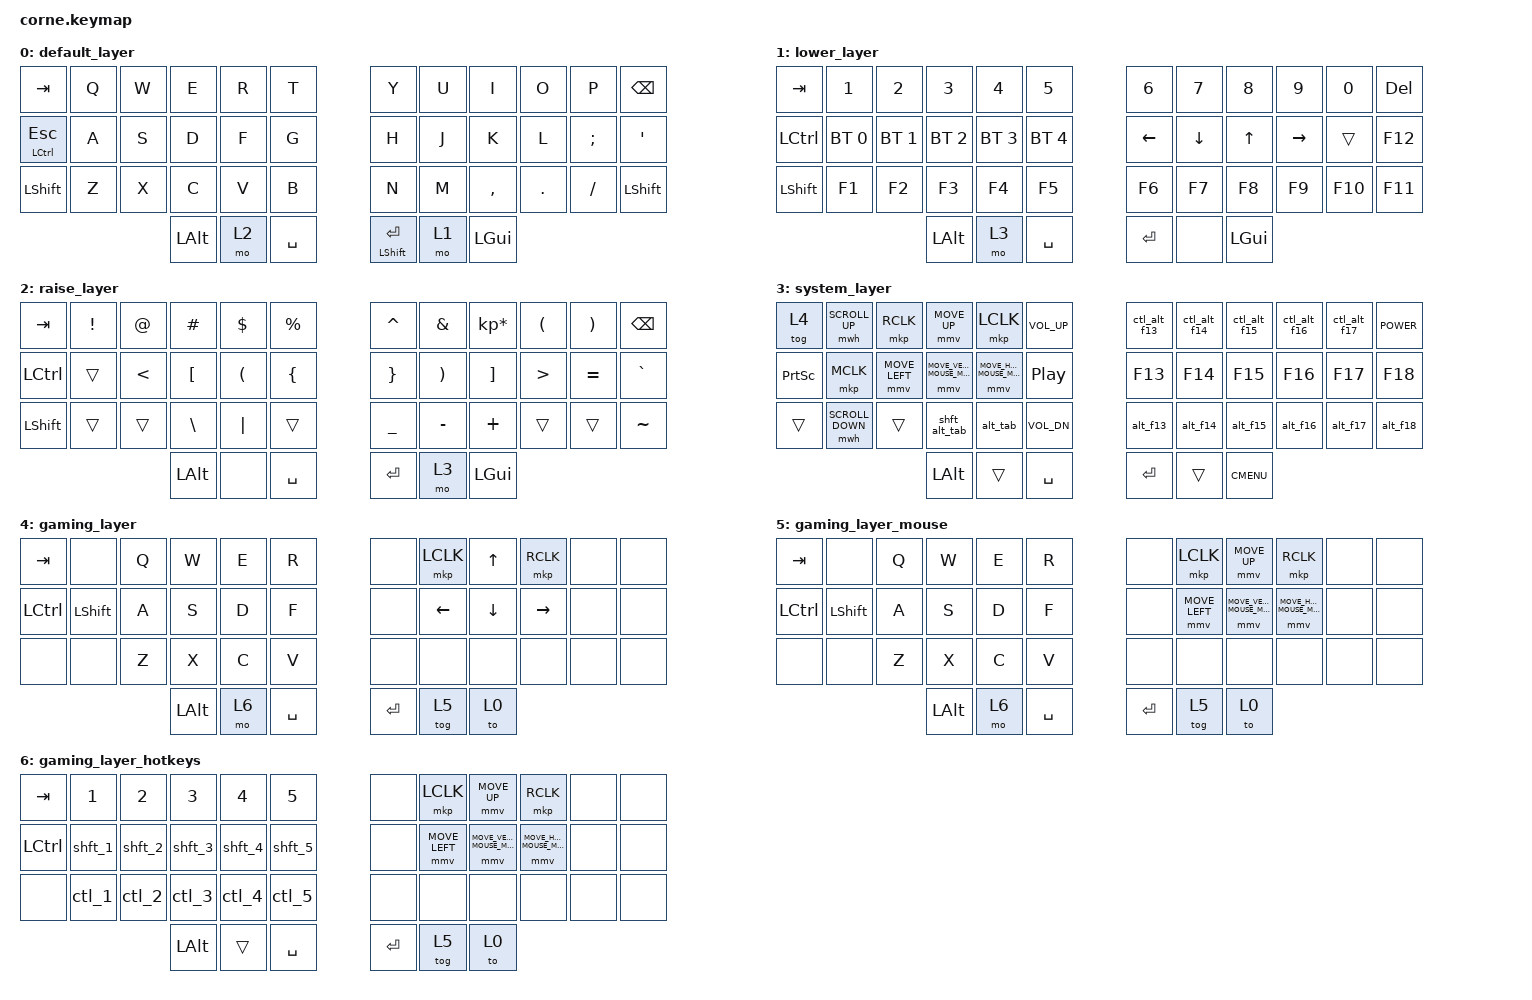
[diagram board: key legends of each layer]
/*
 * Copyright (c) 2020 The ZMK Contributors
 *
 * SPDX-License-Identifier: MIT
 */
#include <dt-bindings/zmk/mouse.h>
#include <behaviors.dtsi>
#include <dt-bindings/zmk/keys.h>
#include <dt-bindings/zmk/bt.h>

#define U_MOUSE_MOVE_MAX 1800
#define CONFIG_ZMK_MACRO_DEFAULT_WAIT_MS 1
#define CONFIG_ZMK_MACRO_DEFAULT_TAP_MS 1

#undef MOVE_UP
#undef MOVE_DOWN
#undef MOVE_LEFT
#undef MOVE_RIGHT
#define MOVE_UP MOVE_VERT(-U_MOUSE_MOVE_MAX)
#define MOVE_DOWN MOVE_VERT(U_MOUSE_MOVE_MAX)
#define MOVE_LEFT MOVE_HOR(-U_MOUSE_MOVE_MAX)
#define MOVE_RIGHT MOVE_HOR(U_MOUSE_MOVE_MAX)

&mmv {
	time-to-max-speed-ms = <800>;
};

/ {
        macros {
            alt_tab: alt_tab {
                label = "alt_tab";
                compatible = "zmk,behavior-macro";
                #binding-cells = <0>;
                bindings
                    = <&macro_press &kp LCTRL>
                    , <&macro_tap &kp TAB>
                    , <&macro_release &kp LCTRL>;
            };
            shft_alt_tab: shft_alt_tab {
                label = "shft_alt_tab";
                compatible = "zmk,behavior-macro";
                #binding-cells = <0>;
                bindings
                    = <&macro_press &kp LCTRL>
                    , <&macro_press &kp LSHFT>
                    , <&macro_tap &kp TAB>
                    , <&macro_release &kp LSHFT>
                    , <&macro_release &kp LCTRL>;
            };
            alt_f13: alt_f13 {
                label = "alt_f13";
                compatible = "zmk,behavior-macro";
                #binding-cells = <0>;
                bindings
                    = <&macro_press &kp LALT>
                    , <&macro_tap &kp F13>
                    , <&macro_release &kp LALT>;
            };
            alt_f14: alt_f14 {
                label = "alt_f14";
                compatible = "zmk,behavior-macro";
                #binding-cells = <0>;
                bindings
                    = <&macro_press &kp LALT>
                    , <&macro_tap &kp F14>
                    , <&macro_release &kp LALT>;
            };
            alt_f15: alt_f15 {
                label = "alt_f15";
                compatible = "zmk,behavior-macro";
                #binding-cells = <0>;
                bindings
                    = <&macro_press &kp LALT>
                    , <&macro_tap &kp F15>
                    , <&macro_release &kp LALT>;
            };
            alt_f16: alt_f16 {
                label = "alt_f16";
                compatible = "zmk,behavior-macro";
                #binding-cells = <0>;
                bindings
                    = <&macro_press &kp LALT>
                    , <&macro_tap &kp F16>
                    , <&macro_release &kp LALT>;
            };
            alt_f17: alt_f17 {
                label = "alt_f17";
                compatible = "zmk,behavior-macro";
                #binding-cells = <0>;
                bindings
                    = <&macro_press &kp LALT>
                    , <&macro_tap &kp F17>
                    , <&macro_release &kp LALT>;
            };
            alt_f18: alt_f18 {
                label = "alt_f18";
                compatible = "zmk,behavior-macro";
                #binding-cells = <0>;
                bindings
                    = <&macro_press &kp LALT>
                    , <&macro_tap &kp F18>
                    , <&macro_release &kp LALT>;
            };
            ctl_alt_f13: ctl_alt_f13 {
                label = "ctl_alt_f13";
                compatible = "zmk,behavior-macro";
                #binding-cells = <0>;
                bindings
                    = <&macro_press &kp LCTRL>
                    , <&macro_press &kp LALT>
                    , <&macro_tap &kp F13>
                    , <&macro_release &kp LALT>
                    , <&macro_release &kp LCTRL>;
            };
            ctl_alt_f14: ctl_alt_f14 {
                label = "ctl_alt_f14";
                compatible = "zmk,behavior-macro";
                #binding-cells = <0>;
                bindings
                    = <&macro_press &kp LCTRL>
                    , <&macro_press &kp LALT>
                    , <&macro_tap &kp F14>
                    , <&macro_release &kp LALT>
                    , <&macro_release &kp LCTRL>;
            };
            ctl_alt_f15: ctl_alt_f15 {
                label = "ctl_alt_f15";
                compatible = "zmk,behavior-macro";
                #binding-cells = <0>;
                bindings
                    = <&macro_press &kp LCTRL>
                    , <&macro_press &kp LALT>
                    , <&macro_tap &kp F15>
                    , <&macro_release &kp LALT>
                    , <&macro_release &kp LCTRL>;
            };
            ctl_alt_f16: ctl_alt_f16 {
                label = "ctl_alt_f16";
                compatible = "zmk,behavior-macro";
                #binding-cells = <0>;
                bindings
                    = <&macro_press &kp LCTRL>
                    , <&macro_press &kp LALT>
                    , <&macro_tap &kp F16>
                    , <&macro_release &kp LALT>
                    , <&macro_release &kp LCTRL>;
            };
            ctl_alt_f17: ctl_alt_f17 {
                label = "ctl_alt_f17";
                compatible = "zmk,behavior-macro";
                #binding-cells = <0>;
                bindings
                    = <&macro_press &kp LCTRL>
                    , <&macro_press &kp LALT>
                    , <&macro_tap &kp F17>
                    , <&macro_release &kp LALT>
                    , <&macro_release &kp LCTRL>;
            };

            // gaming stuff
            ctl_1: ctl_1 {
                label = "ctl_1";
                compatible = "zmk,behavior-macro";
                #binding-cells = <0>;
                bindings
                    = <&macro_press &kp LCTRL>
                    , <&macro_tap &kp N1>
                    , <&macro_release &kp LCTRL>;
            };
            ctl_2: ctl_2 {
                label = "ctl_2";
                compatible = "zmk,behavior-macro";
                #binding-cells = <0>;
                bindings
                    = <&macro_press &kp LCTRL>
                    , <&macro_tap &kp N2>
                    , <&macro_release &kp LCTRL>;
            };
            ctl_3: ctl_3 {
                label = "ctl_3";
                compatible = "zmk,behavior-macro";
                #binding-cells = <0>;
                bindings
                    = <&macro_press &kp LCTRL>
                    , <&macro_tap &kp N3>
                    , <&macro_release &kp LCTRL>;
            };
            ctl_4: ctl_4 {
                label = "ctl_4";
                compatible = "zmk,behavior-macro";
                #binding-cells = <0>;
                bindings
                    = <&macro_press &kp LCTRL>
                    , <&macro_tap &kp N4>
                    , <&macro_release &kp LCTRL>;
            };
            ctl_5: ctl_5 {
                label = "ctl_5";
                compatible = "zmk,behavior-macro";
                #binding-cells = <0>;
                bindings
                    = <&macro_press &kp LCTRL>
                    , <&macro_tap &kp N5>
                    , <&macro_release &kp LCTRL>;
            };
            shft_1: shft_1 {
                label = "shft_1";
                compatible = "zmk,behavior-macro";
                #binding-cells = <0>;
                bindings
                    = <&macro_press &kp LSHFT>
                    , <&macro_tap &kp N1>
                    , <&macro_release &kp LSHFT>;
            };
            shft_2: shft_2 {
                label = "shft_2";
                compatible = "zmk,behavior-macro";
                #binding-cells = <0>;
                bindings
                    = <&macro_press &kp LSHFT>
                    , <&macro_tap &kp N2>
                    , <&macro_release &kp LSHFT>;
            };
            shft_3: shft_3 {
                label = "shft_3";
                compatible = "zmk,behavior-macro";
                #binding-cells = <0>;
                bindings
                    = <&macro_press &kp LSHFT>
                    , <&macro_tap &kp N3>
                    , <&macro_release &kp LSHFT>;
            };
            shft_4: shft_4 {
                label = "shft_4";
                compatible = "zmk,behavior-macro";
                #binding-cells = <0>;
                bindings
                    = <&macro_press &kp LSHFT>
                    , <&macro_tap &kp N4>
                    , <&macro_release &kp LSHFT>;
            };
            shft_5: shft_5 {
                label = "shft_5";
                compatible = "zmk,behavior-macro";
                #binding-cells = <0>;
                bindings
                    = <&macro_press &kp LSHFT>
                    , <&macro_tap &kp N5>
                    , <&macro_release &kp LSHFT>;
            };
        };

        keymap {
                compatible = "zmk,keymap";

                default_layer {
// -----------------------------------------------------------------------------------------
// |  TAB |  Q  |  W  |  E  |  R  |  T  |   |  Y  |  U   |  I  |  O  |  P  | BKSP |
// | CTRL |  A  |  S  |  D  |  F  |  G  |   |  H  |  J   |  K  |  L  |  ;  |  '   |
// | SHFT |  Z  |  X  |  C  |  V  |  B  |   |  N  |  M   |  ,  |  .  |  /  | SHFT |
//                    | GUI | LWR | SPC |   | ENT | RSE  | ALT |
                        bindings = <
   &kp TAB   &kp Q &kp W &kp E &kp R &kp T   &kp Y &kp U  &kp I     &kp O   &kp P    &kp BSPC
   &mt LCTRL ESC &kp A &kp S &kp D &kp F &kp G   &kp H &kp J  &kp K     &kp L   &kp SEMI &kp SQT
   &kp LSHFT &kp Z &kp X &kp C &kp V &kp B   &kp N &kp M  &kp COMMA &kp DOT &kp FSLH &kp LSHFT
                  &kp LALT &mo 2 &kp SPACE   &mt LSHIFT RET &mo 1 &kp LGUI
                        >;
                };

                lower_layer {
// -----------------------------------------------------------------------------------------
// |  TAB |  1  |  2  |  3  |  4  |  5  |   |  6  |  7  |  8  |  9  |  0  | BKSP |
// | BTCLR| BT1 | BT2 | BT3 | BT4 | BT5 |   | LFT | DWN |  UP | RGT |     |      |
// | SHFT |     |     |     |     |     |   |     |     |     |     |     |      |
//                    | GUI |     | SPC |   | ENT |     | ALT |
                        bindings = <
   &kp TAB    &kp N1       &kp N2       &kp N3       &kp N4       &kp N5         &kp N6   &kp N7   &kp N8 &kp N9    &kp N0 &kp DELETE
   &kp LCTRL  &bt BT_SEL 0 &bt BT_SEL 1 &bt BT_SEL 2 &bt BT_SEL 3 &bt BT_SEL 4   &kp LEFT &kp DOWN &kp UP &kp RIGHT &trans &kp F12
   &kp LSHFT  &kp F1       &kp F2       &kp F3       &kp F4       &kp F5         &kp F6   &kp F7   &kp F8 &kp F9   &kp F10 &kp F11
                                    &kp LALT     &mo 3       &kp SPACE      &kp RET  &none   &kp LGUI
                        >;
                };

                raise_layer {
// -----------------------------------------------------------------------------------------
// |  TAB |  !  |  @  |  #  |  $  |  %  |   |  ^  |  &  |  *  |  (  |  )  | BKSP |
// | CTRL |     |  <  |  [  |  (  |  {  |   |  }  |  )  |  ]  |  >  |  =  |  `   |
// | SHFT |     |     |  \  |  |  |     |   |  _  |  -  |  +  |     |     |  ~   |
//                    | GUI |     | SPC |   | ENT |     | ALT |
                        bindings = <
   &kp  TAB  &kp EXCL &kp AT &kp HASH &kp DLLR &kp PRCNT   &kp CARET &kp AMPS  &kp KP_MULTIPLY &kp LPAR &kp RPAR &kp BSPC
   &kp LCTRL &trans   &kp LESS_THAN &kp LBKT &kp LPAR  &kp LEFT_BRACE  &kp RBRC   &kp RPAR &kp RBKT &kp GREATER_THAN &kp EQUAL &kp GRAVE
   &kp LSHFT &trans   &trans &kp BACKSLASH   &kp PIPE   &trans      &kp UNDER &kp MINUS  &kp PLUS        &trans  &trans &kp TILDE
                             &kp LALT &none   &kp SPACE   &kp RET   &mo 3    &kp LGUI
                        >;
                };

                system_layer {
// -----------------------------------------------------------------------------------------
// |  TAB |  !  |  @  |  #  |  $  |  %  |   |  ^  |  &  |  *  |  (  |  )  | BKSP |
// | CTRL |     |  <  |  [  |  (  |  {  |   |  }  |  )  |  ]  |  >  |  =  |  `   |
// | SHFT |     |     |  \  |  |  |     |   |  _  |  -  |  +  |     |     |  ~   |
//                    | GUI |     | SPC |   | ENT |     | ALT |
                        bindings = <
   &tog 4  &mwh SCROLL_UP  &mkp RCLK &mmv MOVE_UP &mkp LCLK &kp C_VOL_UP    &ctl_alt_f13 &ctl_alt_f14  &ctl_alt_f15 &ctl_alt_f16 &ctl_alt_f17 &kp C_POWER
   &kp PRINTSCREEN &mkp MCLK   &mmv MOVE_LEFT &mmv MOVE_DOWN &mmv MOVE_RIGHT  &kp C_PP  &kp F13 &kp F14 &kp F15 &kp F16 &kp F17 &kp F18 
   &trans &mwh SCROLL_DOWN   &trans &shft_alt_tab   &alt_tab   &kp C_VOL_DN      &alt_f13 &alt_f14  &alt_f15        &alt_f16  &alt_f17 &alt_f18
                             &kp LALT &trans   &kp SPACE   &kp RET   &trans    &kp K_CMENU
                        >;
                };

                gaming_layer {
                    bindings = <
&kp TAB &none &kp Q &kp W &kp E &kp R    &none &mkp LCLK &kp UP &mkp RCLK &none &none
&kp LCTRL &kp LSHFT &kp A &kp S &kp D &kp F    &none &kp LEFT &kp DOWN &kp RIGHT &none &none
&none &none &kp Z &kp X &kp C &kp V      &none &none &none &none &none &none
                &kp LALT &mo 6 &kp SPACE    &kp RET &tog 5 &to 0 
                    >;
                };
                gaming_layer_mouse {
                    bindings = <
&kp TAB &none &kp Q &kp W &kp E &kp R    &none &mkp LCLK &mmv MOVE_UP &mkp RCLK &none &none
&kp LCTRL &kp LSHFT &kp A &kp S &kp D &kp F    &none &mmv MOVE_LEFT &mmv MOVE_DOWN &mmv MOVE_RIGHT &none &none
&none &none &kp Z &kp X &kp C &kp V      &none &none &none &none &none &none
                &kp LALT &mo 6 &kp SPACE    &kp RET &tog 5 &to 0
                    >;
                };

                gaming_layer_hotkeys {
                    bindings = <
&kp TAB &kp N1 &kp N2 &kp N3 &kp N4 &kp N5    &none &mkp LCLK &mmv MOVE_UP &mkp RCLK &none &none
&kp LCTRL &shft_1 &shft_2 &shft_3 &shft_4 &shft_5    &none &mmv MOVE_LEFT &mmv MOVE_DOWN &mmv MOVE_RIGHT &none &none
&none &ctl_1 &ctl_2 &ctl_3 &ctl_4 &ctl_5      &none &none &none &none &none &none
                &kp LALT &trans &kp SPACE    &kp RET &tog 5 &to 0
                    >;
                };
        };

};
